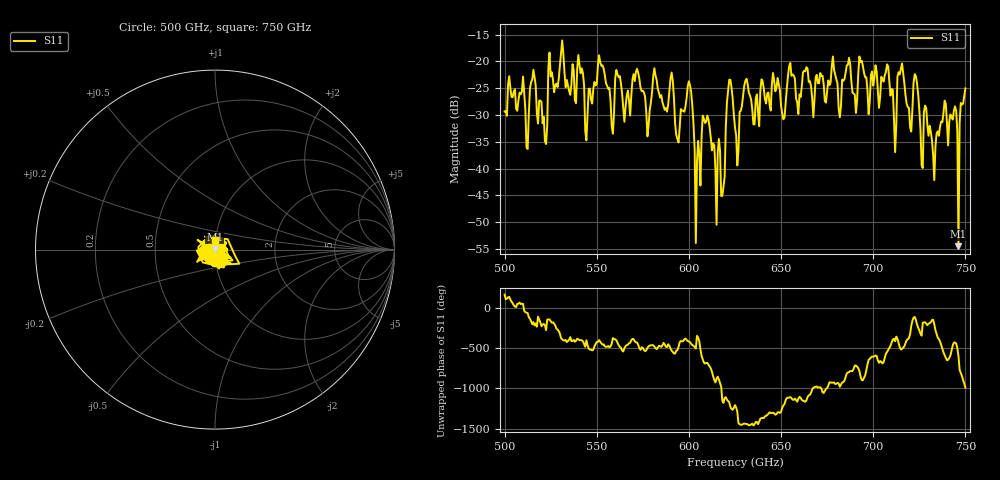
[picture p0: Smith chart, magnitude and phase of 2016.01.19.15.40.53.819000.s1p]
!Created with skrf (http://scikit-rf.org).
# GHz S RI R 50.0
!freq ReS11 ImS11
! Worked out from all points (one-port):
!   401 points, 500 GHz to 750 GHz, reference 50 ohm
!   lowest |S11| = -54.4 dB at 746.2 GHz (marker M1), VSWR 1.00, Z = 49.9 + j0.164 ohm
!   |S11| at or under -10 dB: start of sweep to end of sweep
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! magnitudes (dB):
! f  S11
! 500 GHz  -29.3
! 512.5 GHz  -36.3
! 515.6 GHz  -21.6
! 521.9 GHz  -34.9
! 525 GHz  -22.8
! 531.2 GHz  -16.1
! 545 GHz  -29.7
! 551.9 GHz  -20.2
! 558.1 GHz  -32.1
! 562.5 GHz  -22.7
! 578.1 GHz  -31.9
! 590.6 GHz  -22.1
! 593.8 GHz  -34.5
! 600 GHz  -23.7
! 605 GHz  -34.8
! 608.8 GHz  -31.5
! 618.1 GHz  -45.1
! 621.9 GHz  -23.4
! 625 GHz  -32.3
! 630.6 GHz  -23.7
! 656.2 GHz  -22.4
! 687.5 GHz  -20.6
! 707.5 GHz  -20.6
! 711.2 GHz  -30.7
! 715 GHz  -21.4
! 718.8 GHz  -28.5
! 746.2 GHz  -54.4
! 750 GHz  -25.0
